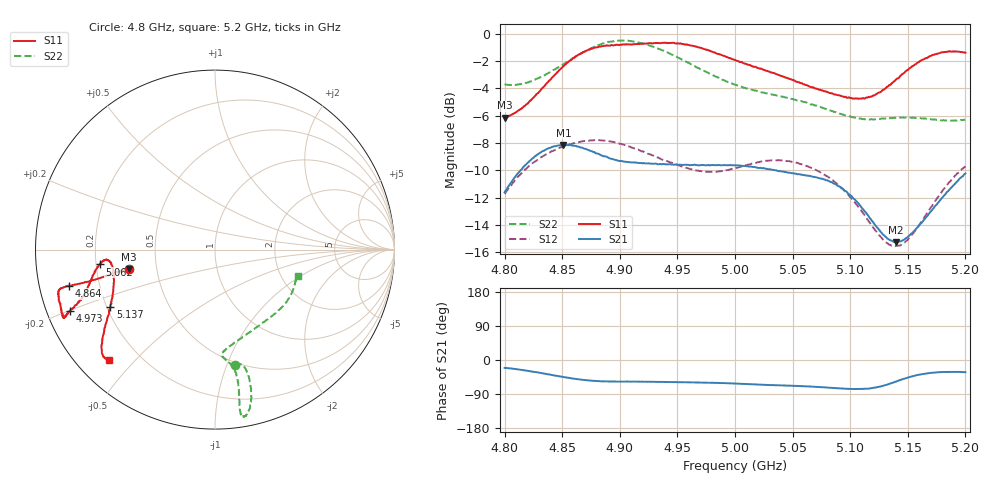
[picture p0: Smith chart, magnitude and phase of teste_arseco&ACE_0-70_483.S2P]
! Network Analyzer HP8722D
! Hewlett-Packard
! Data name: Linha & Wilkinson
! Saver's name: Rodrigo Anjos
! Comments: Teste da utilização de aquisição
! continua pelo VNA HP8722D
! Time and date: 8/5/2025 16:47
!  Frequency  S11  S21  S12  S22
# HZ  S  MA R 50
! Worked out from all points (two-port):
!   401 points, 4.8 GHz to 5.2 GHz, reference 50 ohm
!   highest |S21| = -8.13 dB at 4.851 GHz (marker M1); lowest = -15.2 dB at 5.14 GHz (marker M2)
!   |S21| within 3 dB of the highest: 4.804 GHz to 5.089 GHz (285.6 MHz wide, 5.77 % of centre); 5.189253 GHz to end of sweep
!   lowest |S11| = -6.1 dB at 4.8 GHz (marker M3), VSWR 2.95, Z = 17.1 - j4.91 ohm
!   |S11| at or under -10 dB: nowhere
!   |S22| runs from -6.4 to -0.5 dB; largest |S21 - S12| = 0.62
!   S11 on the Smith chart (normalised r, x): 4.8 GHz: 0.34, -0.10; 4.864 GHz: 0.09, -0.12; 4.973 GHz: 0.07, -0.20; 5.062 GHz: 0.21, -0.06; 5.137 GHz: 0.21, -0.24; 5.2 GHz: 0.09, -0.42
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4.8e9  0.4935 -167.3  0.263 -20.8  0.2595 -141.9  0.6522 -80.1
4.827e9  0.5956 -166.6  0.3574 -31.7  0.342 -146.3  0.6817 -75.7
4.851e9  0.76 -165.8  0.3921 -44.9  0.3869 -150.6  0.7737 -75.2
4.864e9  0.8376 -166.0  0.3866 -50.8  0.4008 -152.6  0.8341 -76.1
4.867e9  0.8492 -166.1  0.3832 -52.2  0.4035 -153.1  0.8504 -76.2
4.899e9  0.9098 -163.0  0.3427 -57.1  0.3973 -157.4  0.9439 -79.8
4.934e9  0.9251 -156.8  0.3331 -57.8  0.3519 -156.0  0.8788 -81.1
4.953e9  0.9216 -156.0  0.3315 -58.5  0.3275 -152.3  0.8089 -80.4
4.973e9  0.8799 -157.0  0.3308 -59.8  0.3126 -146.1  0.7319 -80.2
5e9  0.8019 -159.4  0.3297 -62.2  0.3225 -137.8  0.6507 -81.7
5.036e9  0.7113 -166.1  0.3163 -66.7  0.3442 -135.3  0.595 -86.0
5.062e9  0.6482 -172.7  0.3028 -69.5  0.3282 -137.4  0.5602 -83.8
5.067e9  0.6373 -173.4  0.3003 -70.1  0.3226 -137.8  0.551 -82.7
5.084e9  0.6054 -174.6  0.2865 -73.4  0.2926 -139.4  0.5211 -75.9
5.101e9  0.582 -171.5  0.2551 -76.5  0.2499 -139.4  0.4963 -65.7
5.117e9  0.5864 -163.6  0.2116 -74.9  0.2035 -134.5  0.4853 -54.2
5.134e9  0.6496 -153.2  0.1764 -63.0  0.1691 -118.4  0.4906 -42.7
5.137e9  0.6637 -151.4  0.1738 -59.8  0.1677 -114.4  0.492 -41.1
5.14e9  0.6818 -150.0  0.1728 -56.7  0.1674 -110.5  0.4929 -39.3
5.151e9  0.7446 -145.2  0.1823 -45.4  0.1786 -96.7  0.493 -33.6
5.172e9  0.8373 -139.1  0.229 -33.5  0.2376 -81.1  0.4851 -24.4
5.2e9  0.8527 -133.9  0.3082 -32.2  0.3271 -77.7  0.4844 -17.7
